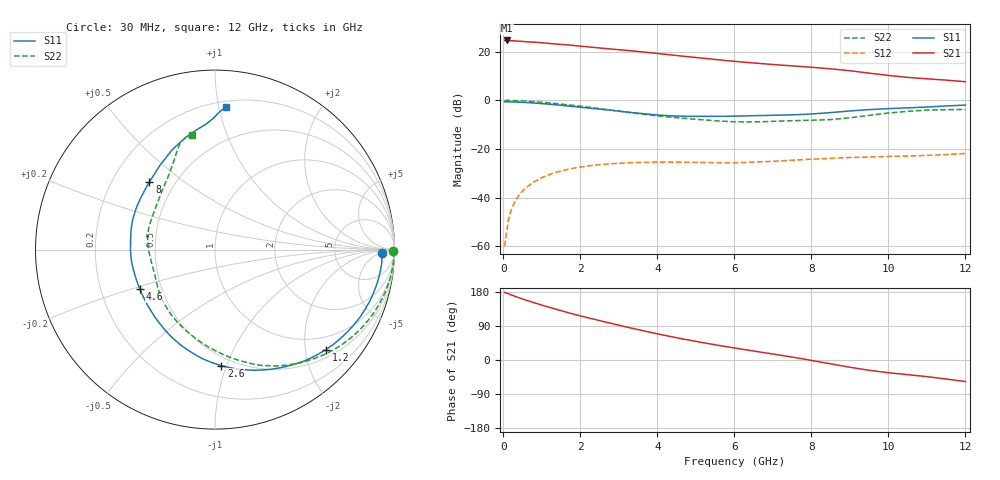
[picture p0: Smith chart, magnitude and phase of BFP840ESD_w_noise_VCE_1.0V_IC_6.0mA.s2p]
! Infineon Technologies  Discrete & RF Semiconductors
! BFP840ESD
! VCE =  1.0 V,  IC =  6.0 mA
! Common Emitter S-Parameters:  May 2012
# GHz  S  MA  R  50
!  f  S11  S21  S12  S22
! GHz  MAG  ANG  MAG  ANG  MAG  ANG  MAG  ANG
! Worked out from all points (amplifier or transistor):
!   93 points, 30 MHz to 12 GHz, reference 50 ohm
!   highest |S21| = 24.7 dB at 80 MHz (marker M1)
!   |S21| within 3 dB of that: start of sweep to 2.435 GHz
!   unconditionally stable (mu >= 1): 5.862 GHz to 10.63 GHz
!   at 1.1 GHz: K = 0.20, MSG = 27.3 dB, |S12| = -31.1 dB
!   at 4.2 GHz: K = 0.66, MSG = 22.2 dB, |S12| = -25.4 dB
!   at 12 GHz: K = 0.76, MSG = 14.8 dB, |S12| = -21.9 dB
!   lowest NFmin = 0.65 dB at 450 MHz
!   S11 on the Smith chart (normalised r, x): 30 MHz: 27, -7; 1.2 GHz: 0.67, -2.44; 2.6 GHz: 0.43, -0.96; 4.6 GHz: 0.38, -0.21; 8 GHz: 0.36, +0.37; 12 GHz: 0.24, +1.05
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0.03  0.9329 -1.1  16.98 178.3  0.001 105.9  0.9927 -0.6
0.08  0.9312 -2.9  17.09 176.4  0.0019 76.6  0.9963 -2.4
0.23  0.9276 -8.4  16.83 170.8  0.0063 84.3  0.9918 -7.4
0.43  0.9148 -15.5  16.43 163.3  0.0119 78.0  0.9781 -13.7
0.6  0.9009 -21.5  16.08 157.5  0.0162 73.8  0.9621 -18.9
0.9  0.8687 -31.9  15.55 147.9  0.0234 66.3  0.9268 -27.9
1.2  0.8323 -42.0  14.81 138.8  0.0299 59.1  0.8844 -36.6
1.6  0.7766 -55.4  14.02 127.2  0.0369 50.6  0.8214 -47.6
2.1  0.7094 -71.3  12.83 113.8  0.0436 41.0  0.7412 -60.7
2.6  0.6477 -86.9  11.76 101.5  0.0482 32.7  0.661 -73.2
3.3  0.5654 -109.6  10.5 84.6  0.0521 23.4  0.5584 -90.8
3.7  0.5256 -122.6  9.753 75.6  0.0533 18.8  0.5096 -101.5
4.1  0.4941 -136.0  9.039 67.0  0.0537 15.1  0.4704 -112.4
4.6  0.4729 -152.1  8.211 56.8  0.0535 11.4  0.4326 -125.5
5.2  0.4688 -169.2  7.344 45.4  0.0527 8.4  0.3971 -139.6
6.1  0.4751 171.0  6.256 30.2  0.0524 7.7  0.3618 -160.2
7.2  0.4974 150.7  5.331 12.5  0.0569 7.2  0.3744 175.7
8  0.5248 134.2  4.801 -1.1  0.0615 4.6  0.3901 158.8
8.5  0.5601 123.3  4.457 -10.0  0.064 2.5  0.4028 146.2
9.5  0.6459 104.7  3.638 -27.2  0.0683 -2.9  0.4911 121.4
10.5  0.7007 94.1  2.971 -38.7  0.0715 -7.1  0.5953 110.5
12  0.7986 85.4  2.418 -57.0  0.0807 -12.4  0.6508 101.3
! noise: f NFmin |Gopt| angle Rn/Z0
0.45  0.65  0.45  1  0.16
0.9  0.65  0.45  5  0.16
1.5  0.68  0.45  14  0.14
1.9  0.7  0.43  17  0.13
2.4  0.71  0.38  29  0.14
3.5  0.74  0.27  57  0.11
5.5  0.84  0.18  122  0.09
8  1.01  0.33  -142  0.08
10  1.17  0.49  -99  0.16
12  1.39  0.59  -77  0.26
